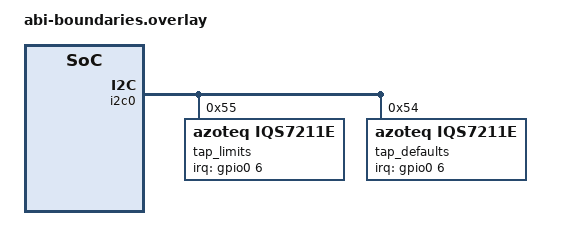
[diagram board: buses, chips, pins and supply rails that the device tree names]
/* SPDX-License-Identifier: MIT */
&sensor { single-tap = <0>; double-tap = <127>; triple-tap = <0>; };
&i2c0 {
    tap_limits: trackpad@55 {
        compatible = "azoteq,iqs7211e";
        reg = <0x55>; irq-gpios = <&gpio0 6 GPIO_ACTIVE_HIGH>;
        single-tap = <127>; double-tap = <0>; triple-tap = <127>;
    };
    tap_defaults: trackpad@54 {
        compatible = "azoteq,iqs7211e";
        reg = <0x54>; irq-gpios = <&gpio0 6 GPIO_ACTIVE_HIGH>;
    };
};
